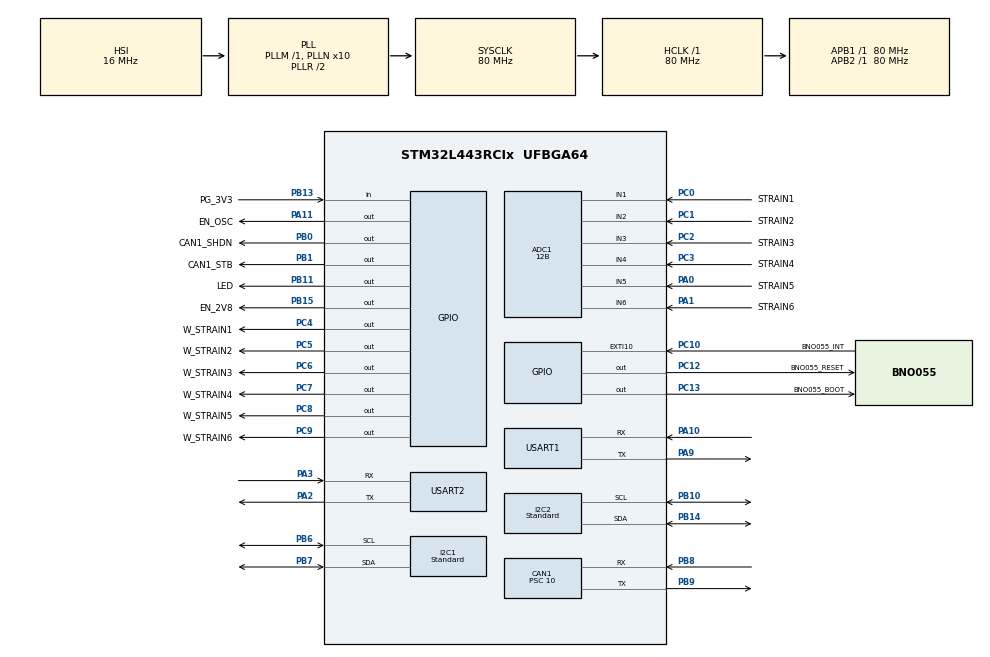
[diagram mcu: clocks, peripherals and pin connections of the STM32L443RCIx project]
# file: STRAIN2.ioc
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ADC1.Channel-0\#ChannelRegularConversion=ADC_CHANNEL_1
ADC1.Channel-1\#ChannelRegularConversion=ADC_CHANNEL_2
ADC1.Channel-2\#ChannelRegularConversion=ADC_CHANNEL_3
ADC1.Channel-3\#ChannelRegularConversion=ADC_CHANNEL_4
ADC1.Channel-4\#ChannelRegularConversion=ADC_CHANNEL_5
ADC1.Channel-5\#ChannelRegularConversion=ADC_CHANNEL_6
ADC1.ClockPrescaler=ADC_CLOCK_ASYNC_DIV2
ADC1.ContinuousConvMode=ENABLE
ADC1.DMAContinuousRequests=ENABLE
ADC1.DataAlign=ADC_DATAALIGN_RIGHT
ADC1.DiscontinuousConvMode=DISABLE
ADC1.EOCSelection=ADC_EOC_SEQ_CONV
ADC1.EnableAnalogWatchDog1=false
ADC1.EnableAnalogWatchDog2=false
ADC1.EnableAnalogWatchDog3=false
ADC1.EnableInjectedConversion=DISABLE
ADC1.EnableRegularConversion=ENABLE
ADC1.ExternalTrigConv=ADC_SOFTWARE_START
ADC1.ExternalTrigConvEdge=ADC_EXTERNALTRIGCONVEDGE_NONE
ADC1.LowPowerAutoWait=DISABLE
ADC1.NbrOfConversion=6
ADC1.NbrOfConversionFlag=1
ADC1.OffsetNumber-0\#ChannelRegularConversion=ADC_OFFSET_NONE
ADC1.OffsetNumber-1\#ChannelRegularConversion=ADC_OFFSET_NONE
ADC1.OffsetNumber-2\#ChannelRegularConversion=ADC_OFFSET_NONE
ADC1.OffsetNumber-3\#ChannelRegularConversion=ADC_OFFSET_NONE
ADC1.OffsetNumber-4\#ChannelRegularConversion=ADC_OFFSET_NONE
ADC1.OffsetNumber-5\#ChannelRegularConversion=ADC_OFFSET_NONE
ADC1.Overrun=ADC_OVR_DATA_OVERWRITTEN
ADC1.OversamplingMode=ENABLE
ADC1.OversamplingStopReset=ADC_REGOVERSAMPLING_CONTINUED_MODE
ADC1.Rank-0\#ChannelRegularConversion=1
ADC1.Rank-1\#ChannelRegularConversion=2
ADC1.Rank-2\#ChannelRegularConversion=3
ADC1.Rank-3\#ChannelRegularConversion=4
ADC1.Rank-4\#ChannelRegularConversion=5
ADC1.Rank-5\#ChannelRegularConversion=6
ADC1.Ratio=ADC_OVERSAMPLING_RATIO_32
ADC1.Resolution=ADC_RESOLUTION_12B
ADC1.RightBitShift=ADC_RIGHTBITSHIFT_4
ADC1.SamplingTime-0\#ChannelRegularConversion=ADC_SAMPLETIME_12CYCLES_5
ADC1.SamplingTime-1\#ChannelRegularConversion=ADC_SAMPLETIME_12CYCLES_5
ADC1.SamplingTime-2\#ChannelRegularConversion=ADC_SAMPLETIME_12CYCLES_5
ADC1.SamplingTime-3\#ChannelRegularConversion=ADC_SAMPLETIME_12CYCLES_5
ADC1.SamplingTime-4\#ChannelRegularConversion=ADC_SAMPLETIME_12CYCLES_5
ADC1.SamplingTime-5\#ChannelRegularConversion=ADC_SAMPLETIME_12CYCLES_5
ADC1.ScanConvMode=ADC_SCAN_ENABLE
ADC1.TriggeredMode=ADC_TRIGGEREDMODE_SINGLE_TRIGGER
ADC1.master=1
CAN1.ABOM=ENABLE
CAN1.BS1=CAN_BS1_2TQ
CAN1.BS2=CAN_BS2_5TQ
CAN1.CalculateBaudRate=1000000
CAN1.CalculateTimeBit=1000
CAN1.CalculateTimeQuantum=125.0
CAN1.NART=ENABLE
CAN1.Prescaler=10
Dma.ADC1.6.Direction=DMA_PERIPH_TO_MEMORY
Dma.ADC1.6.Instance=DMA1_Channel1
Dma.ADC1.6.MemDataAlignment=DMA_MDATAALIGN_HALFWORD
Dma.ADC1.6.MemInc=DMA_MINC_ENABLE
Dma.ADC1.6.Mode=DMA_CIRCULAR
Dma.ADC1.6.PeriphDataAlignment=DMA_PDATAALIGN_HALFWORD
Dma.ADC1.6.PeriphInc=DMA_PINC_DISABLE
Dma.ADC1.6.Priority=DMA_PRIORITY_LOW
Dma.I2C1_RX.1.Direction=DMA_PERIPH_TO_MEMORY
Dma.I2C1_RX.1.Instance=DMA1_Channel7
Dma.I2C1_RX.1.MemDataAlignment=DMA_MDATAALIGN_BYTE
Dma.I2C1_RX.1.MemInc=DMA_MINC_ENABLE
Dma.I2C1_RX.1.Mode=DMA_NORMAL
Dma.I2C1_RX.1.PeriphDataAlignment=DMA_PDATAALIGN_BYTE
Dma.I2C1_RX.1.PeriphInc=DMA_PINC_DISABLE
Dma.I2C1_RX.1.Priority=DMA_PRIORITY_LOW
Dma.I2C1_TX.0.Direction=DMA_MEMORY_TO_PERIPH
Dma.I2C1_TX.0.Instance=DMA1_Channel6
Dma.I2C1_TX.0.MemDataAlignment=DMA_MDATAALIGN_BYTE
Dma.I2C1_TX.0.MemInc=DMA_MINC_ENABLE
Dma.I2C1_TX.0.Mode=DMA_NORMAL
Dma.I2C1_TX.0.PeriphDataAlignment=DMA_PDATAALIGN_BYTE
Dma.I2C1_TX.0.PeriphInc=DMA_PINC_DISABLE
Dma.I2C1_TX.0.Priority=DMA_PRIORITY_LOW
Dma.I2C2_RX.3.Direction=DMA_PERIPH_TO_MEMORY
Dma.I2C2_RX.3.Instance=DMA1_Channel5
Dma.I2C2_RX.3.MemDataAlignment=DMA_MDATAALIGN_BYTE
Dma.I2C2_RX.3.MemInc=DMA_MINC_ENABLE
Dma.I2C2_RX.3.Mode=DMA_NORMAL
Dma.I2C2_RX.3.PeriphDataAlignment=DMA_PDATAALIGN_BYTE
Dma.I2C2_RX.3.PeriphInc=DMA_PINC_DISABLE
Dma.I2C2_RX.3.Priority=DMA_PRIORITY_LOW
Dma.I2C2_TX.2.Direction=DMA_MEMORY_TO_PERIPH
Dma.I2C2_TX.2.Instance=DMA1_Channel4
Dma.I2C2_TX.2.MemDataAlignment=DMA_MDATAALIGN_BYTE
Dma.I2C2_TX.2.MemInc=DMA_MINC_ENABLE
Dma.I2C2_TX.2.Mode=DMA_NORMAL
Dma.I2C2_TX.2.PeriphDataAlignment=DMA_PDATAALIGN_BYTE
Dma.I2C2_TX.2.PeriphInc=DMA_PINC_DISABLE
Dma.I2C2_TX.2.Priority=DMA_PRIORITY_LOW
Dma.Request0=I2C1_TX
Dma.Request1=I2C1_RX
Dma.Request2=I2C2_TX
Dma.Request3=I2C2_RX
Dma.Request4=USART1_TX
Dma.Request5=USART1_RX
Dma.Request6=ADC1
Dma.USART1_RX.5.Direction=DMA_PERIPH_TO_MEMORY
Dma.USART1_RX.5.Instance=DMA2_Channel7
Dma.USART1_RX.5.MemDataAlignment=DMA_MDATAALIGN_BYTE
Dma.USART1_RX.5.MemInc=DMA_MINC_ENABLE
Dma.USART1_RX.5.Mode=DMA_NORMAL
Dma.USART1_RX.5.PeriphDataAlignment=DMA_PDATAALIGN_BYTE
Dma.USART1_RX.5.PeriphInc=DMA_PINC_DISABLE
Dma.USART1_RX.5.Priority=DMA_PRIORITY_LOW
Dma.USART1_TX.4.Direction=DMA_MEMORY_TO_PERIPH
Dma.USART1_TX.4.Instance=DMA2_Channel6
Dma.USART1_TX.4.MemDataAlignment=DMA_MDATAALIGN_BYTE
Dma.USART1_TX.4.MemInc=DMA_MINC_ENABLE
Dma.USART1_TX.4.Mode=DMA_NORMAL
Dma.USART1_TX.4.PeriphDataAlignment=DMA_PDATAALIGN_BYTE
Dma.USART1_TX.4.PeriphInc=DMA_PINC_DISABLE
Dma.USART1_TX.4.Priority=DMA_PRIORITY_LOW
I2C1.I2C_Speed_Mode=I2C_Standard
I2C1.Timing=0x10909CEC
I2C2.I2C_Speed_Mode=I2C_Standard
I2C2.Timing=0x10909CEC
Mcu.Family=STM32L4
Mcu.Name=STM32L443RCIx
Mcu.Package=UFBGA64
NVIC.ADC1_IRQn=true\:0\:0\:false\:false\:true\:true\:true\:true
NVIC.CAN1_RX0_IRQn=true\:0\:0\:false\:false\:true\:true\:true\:true
NVIC.CAN1_TX_IRQn=true\:0\:0\:false\:false\:true\:true\:true\:true
NVIC.DMA1_Channel1_IRQn=true\:0\:0\:false\:false\:true\:true\:true\:true
NVIC.DMA1_Channel4_IRQn=true\:0\:0\:false\:false\:true\:true\:true\:true
NVIC.DMA1_Channel5_IRQn=true\:0\:0\:false\:false\:true\:true\:true\:true
NVIC.DMA1_Channel6_IRQn=true\:0\:0\:false\:false\:true\:true\:true\:true
NVIC.DMA1_Channel7_IRQn=true\:0\:0\:false\:false\:true\:true\:true\:true
NVIC.DMA2_Channel6_IRQn=true\:0\:0\:false\:false\:true\:true\:true\:true
NVIC.DMA2_Channel7_IRQn=true\:0\:0\:false\:false\:true\:true\:true\:true
NVIC.I2C1_ER_IRQn=true\:0\:0\:false\:false\:true\:true\:true\:true
NVIC.I2C1_EV_IRQn=true\:0\:0\:false\:false\:true\:true\:true\:true
NVIC.I2C2_ER_IRQn=true\:0\:0\:false\:false\:true\:true\:true\:true
NVIC.I2C2_EV_IRQn=true\:0\:0\:false\:false\:true\:true\:true\:true
NVIC.PriorityGroup=NVIC_PRIORITYGROUP_4
NVIC.TIM1_BRK_TIM15_IRQn=true\:0\:0\:false\:false\:true\:true\:true\:true
NVIC.TIM1_UP_TIM16_IRQn=true\:0\:0\:false\:false\:true\:true\:true\:true
NVIC.TIM6_DAC_IRQn=true\:0\:0\:false\:false\:true\:true\:true\:true
NVIC.TIM7_IRQn=true\:0\:0\:false\:false\:true\:true\:true\:true
NVIC.USART1_IRQn=true\:0\:0\:false\:false\:true\:true\:true\:true
NVIC.USART2_IRQn=true\:0\:0\:false\:false\:true\:true\:true\:true
PA0.GPIO_Label=STRAIN5
PA0.Signal=ADCx_IN5
PA1.GPIO_Label=STRAIN6
PA1.Signal=ADCx_IN6
PA10.Mode=Asynchronous
PA10.Signal=USART1_RX
PA11.GPIO_Label=EN_OSC
PA11.Signal=GPIO_Output
PA13\ (JTMS-SWDIO).Mode=Serial_Wire
PA13\ (JTMS-SWDIO).Signal=SYS_JTMS-SWDIO
PA14\ (JTCK-SWCLK).Mode=Serial_Wire
PA14\ (JTCK-SWCLK).Signal=SYS_JTCK-SWCLK
PA2.Mode=Asynchronous
PA2.Signal=USART2_TX
PA3.Mode=Asynchronous
PA3.Signal=USART2_RX
PA9.Mode=Asynchronous
PA9.Signal=USART1_TX
PB0.GPIO_Label=CAN1_SHDN
PB0.Signal=GPIO_Output
PB1.GPIO_Label=CAN1_STB
PB1.Signal=GPIO_Output
PB10.GPIO_Pu=GPIO_PULLUP
PB10.Mode=I2C
PB10.Signal=I2C2_SCL
PB11.GPIO_Label=LED
PB11.Signal=GPIO_Output
PB13.GPIO_Label=PG_3V3
PB13.Signal=GPIO_Input
PB14.GPIO_Pu=GPIO_PULLUP
PB14.Mode=I2C
PB14.Signal=I2C2_SDA
PB15.GPIO_Label=EN_2V8
PB15.Signal=GPIO_Output
PB6.GPIO_Pu=GPIO_PULLUP
PB6.Mode=I2C
PB6.Signal=I2C1_SCL
PB7.GPIO_Pu=GPIO_PULLUP
PB7.Mode=I2C
PB7.Signal=I2C1_SDA
PB8.Mode=CAN_Activate
PB8.Signal=CAN1_RX
PB9.Mode=CAN_Activate
PB9.Signal=CAN1_TX
PC0.GPIO_Label=STRAIN1
PC0.Signal=ADCx_IN1
PC1.GPIO_Label=STRAIN2
PC1.Signal=ADCx_IN2
PC10.GPIO_Label=BNO055_INT
PC10.Signal=GPXTI10
PC12.GPIO_Label=BNO055_RESET
PC12.Signal=GPIO_Output
PC13.GPIO_Label=BNO055_BOOT
PC13.Signal=GPIO_Output
PC2.GPIO_Label=STRAIN3
PC2.Signal=ADCx_IN3
PC3.GPIO_Label=STRAIN4
PC3.Signal=ADCx_IN4
PC4.GPIO_Label=W_STRAIN1
PC4.Signal=GPIO_Output
PC5.GPIO_Label=W_STRAIN2
PC5.Signal=GPIO_Output
PC6.GPIO_Label=W_STRAIN3
PC6.Signal=GPIO_Output
PC7.GPIO_Label=W_STRAIN4
PC7.Signal=GPIO_Output
PC8.GPIO_Label=W_STRAIN5
PC8.Signal=GPIO_Output
PC9.GPIO_Label=W_STRAIN6
PC9.Signal=GPIO_Output
ProjectManager.HeapSize=0x200
ProjectManager.StackSize=0x400
ProjectManager.TargetToolchain=MDK-ARM V5
RCC.ADCCLockSelection=RCC_ADCCLKSOURCE_SYSCLK
RCC.ADCFreq_Value=80000000
RCC.AHBFreq_Value=80000000
RCC.APB1Freq_Value=80000000
RCC.APB1TimFreq_Value=80000000
RCC.APB2Freq_Value=80000000
RCC.APB2TimFreq_Value=80000000
RCC.CK48CLockSelection=RCC_USBCLKSOURCE_HSI48
RCC.CortexFreq_Value=80000000
RCC.HCLKFreq_Value=80000000
RCC.HSE_VALUE=10000000
RCC.HSI48_VALUE=48000000
RCC.HSI_VALUE=16000000
RCC.LSE_VALUE=32768
RCC.MSI_VALUE=4000000
RCC.PLLN=10
RCC.PLLSourceVirtual=RCC_PLLSOURCE_HSI
RCC.RTCClockSelection=RCC_RTCCLKSOURCE_LSI
RCC.SYSCLKFreq_VALUE=80000000
RCC.SYSCLKSource=RCC_SYSCLKSOURCE_PLLCLK
RCC.USBFreq_Value=48000000
RCC.VCOOutputFreq_Value=160000000
SH.ADCx_IN1.0=ADC1_IN1,IN1-Single-Ended
SH.ADCx_IN2.0=ADC1_IN2,IN2-Single-Ended
SH.ADCx_IN3.0=ADC1_IN3,IN3-Single-Ended
SH.ADCx_IN4.0=ADC1_IN4,IN4-Single-Ended
SH.ADCx_IN5.0=ADC1_IN5,IN5-Single-Ended
SH.ADCx_IN6.0=ADC1_IN6,IN6-Single-Ended
TIM15.Period=200
TIM15.Prescaler=1600
TIM16.Period=10000
TIM16.Prescaler=1600
TIM6.Period=1
TIM6.Prescaler=1600
TIM6.TIM_MasterOutputTrigger=TIM_TRGO_RESET
TIM7.Period=1
TIM7.Prescaler=1600
USART1.HwFlowCtl-Asynchronous=UART_HWCONTROL_NONE
USART1.VirtualMode-Asynchronous=VM_ASYNC
USART1.WordLength=WORDLENGTH_8B
USART2.HwFlowCtl-Asynchronous=UART_HWCONTROL_NONE
USART2.VirtualMode-Asynchronous=VM_ASYNC
VP_RNG_VS_RNG.Mode=RNG_Activate
VP_TIM15_VS_OPM.Mode=OPM_bit
VP_TIM16_VS_ClockSourceINT.Mode=Enable_Timer
VP_TIM6_VS_ClockSourceINT.Mode=Enable_Timer
VP_TIM7_VS_ClockSourceINT.Mode=Enable_Timer
board=STRAIN2

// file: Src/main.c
/* USER CODE BEGIN Header */
/**
  ******************************************************************************
  * @file           : main.c
  * @brief          : Main program body
  ******************************************************************************
  ** This notice applies to any and all portions of this file
  * that are not between comment pairs USER CODE BEGIN and
  * USER CODE END. Other portions of this file, whether
  * inserted by the user or by software development tools
  * are owned by their respective copyright owners.
  *
  * COPYRIGHT(c) 2018 STMicroelectronics
  *
  * Redistribution and use in source and binary forms, with or without modification,
  * are permitted provided that the following conditions are met:
  *   1. Redistributions of source code must retain the above copyright notice,
  *      this list of conditions and the following disclaimer.
  *   2. Redistributions in binary form must reproduce the above copyright notice,
  *      this list of conditions and the following disclaimer in the documentation
  *      and/or other materials provided with the distribution.
  *   3. Neither the name of STMicroelectronics nor the names of its contributors
  *      may be used to endorse or promote products derived from this software
  *      without specific prior written permission.
  *
  * THIS SOFTWARE IS PROVIDED BY THE COPYRIGHT HOLDERS AND CONTRIBUTORS "AS IS"
  * AND ANY EXPRESS OR IMPLIED WARRANTIES, INCLUDING, BUT NOT LIMITED TO, THE
  * IMPLIED WARRANTIES OF MERCHANTABILITY AND FITNESS FOR A PARTICULAR PURPOSE ARE
  * DISCLAIMED. IN NO EVENT SHALL THE COPYRIGHT HOLDER OR CONTRIBUTORS BE LIABLE
  * FOR ANY DIRECT, INDIRECT, INCIDENTAL, SPECIAL, EXEMPLARY, OR CONSEQUENTIAL
  * DAMAGES (INCLUDING, BUT NOT LIMITED TO, PROCUREMENT OF SUBSTITUTE GOODS OR
  * SERVICES; LOSS OF USE, DATA, OR PROFITS; OR BUSINESS INTERRUPTION) HOWEVER
  * CAUSED AND ON ANY THEORY OF LIABILITY, WHETHER IN CONTRACT, STRICT LIABILITY,
  * OR TORT (INCLUDING NEGLIGENCE OR OTHERWISE) ARISING IN ANY WAY OUT OF THE USE
  * OF THIS SOFTWARE, EVEN IF ADVISED OF THE POSSIBILITY OF SUCH DAMAGE.
  *
  ******************************************************************************
  */
/* USER CODE END Header */

#include "main.h"
#include "adc.h"
#include "can.h"
#include "dma.h"
#include "i2c.h"
#include "rng.h"
#include "tim.h"
#include "usart.h"
#include "gpio.h"

/* USER CODE BEGIN Includes */
#include "can_utility.h"
#include "Si705x.h"
#include "BNO055.h"
#include "PGA308.h"

/* USER CODE END Includes */

/* USER CODE BEGIN PV */
/* Private variables ---------------------------------------------------------*/

// ----------------------------------------------------------------------------
// Firmware Version
// ----------------------------------------------------------------------------
char Firmware_vers = 0;
char Revision_vers = 0;
char Build_number  = 0;

#define LED_ON    HAL_GPIO_WritePin(LED_GPIO_Port, LED_Pin, GPIO_PIN_RESET);
#define LED_OFF   HAL_GPIO_WritePin(LED_GPIO_Port, LED_Pin, GPIO_PIN_SET);

uint8_t can_message = 0;
uint16_t count = 0;
uint8_t REG_count = 0;
uint8_t REG_GO = 0;
uint8_t REG_tran = 0;
uint8_t REG_OK = 0;
uint8_t REG_Value = 0;
#define SAMPLES 10
uint8_t REG_max_count = SAMPLES;
uint16_t REG_value_tran[SAMPLES];
uint8_t CHANNEL=1;
uint8_t REGISTER=RAM_CFG0;
uint8_t PGA308_StartCalib=1;

uint16_t Temperature_TOPcode_prev=0;
uint16_t Temperature_TOPcode;
uint32_t Temperature_TOPboard;
uint16_t Temperature_BOTcode;
uint32_t Temperature_BOTboard;
uint8_t Temp_int;
uint8_t Temp_dec;

uint8_t PGA308_DimBufferTXbit=8*PGA308_DimBufferTX;
uint8_t bit_count=0;
uint8_t byte_count=0;
uint8_t bit_count_rel=0;
uint8_t PGA308_channel;

extern uint8_t PGA308_BufferTx[PGA308_DimBufferTX];
extern uint16_t adc_values[6];           // contains all ADC channels conversion
extern uint8_t PGA308_StartComm;

//uint16_t PGA308register = 0;
fifo PGA308_CoarseOffset = {0};

uint16_t Gain;

uint8_t text[5] = {0};
uint8_t UART_Rx_buffer[5];

/* USER CODE END PV */

void SystemClock_Config(void);
/* USER CODE BEGIN PFP */
/* Private function prototypes -----------------------------------------------*/
void TIMER_Init(void);
void TIMER_PROG(uint16_t value);
void TEMPERATURE(void);
void BNO055(void);
void BNO055_UART(void);
void SelfCalibration(uint8_t channel, uint8_t reg);
void PGA_CoarseOffset_Calib(uint8_t channel, uint16_t DAC_OUT);
void PGA_FineOffset_Calib(uint8_t channel, uint16_t DAC_OUT);
void PGA_StableRegister(uint16_t REGISTER);
//void calcMean();

/* USER CODE END PFP */

int main(void)
{

  /* MCU Configuration--------------------------------------------------------*/

  /* Reset of all peripherals, Initializes the Flash interface and the Systick. */
  HAL_Init();

  /* Configure the system clock */
  SystemClock_Config();

  /* Initialize all configured peripherals */
  MX_GPIO_Init();
  MX_DMA_Init();
  MX_TIM6_Init();
  MX_CAN1_Init();
  MX_USART1_UART_Init();
  MX_ADC1_Init();
  MX_I2C1_Init();
  MX_I2C2_Init();
  MX_USART2_UART_Init();
  MX_TIM7_Init();
  MX_TIM16_Init();
  MX_TIM15_Init();
  MX_RNG_Init();
  /* USER CODE BEGIN 2 */
	TIMER_Init();
  CAN_Config();
	Si705x_init(1);
  BNO055_init();

  /* USER CODE END 2 */

  /* Infinite loop */
  /* USER CODE BEGIN WHILE */

#if 1
    #warning marco.accame on 27dec18 has uncommented every user-defined can code as it doesnt compile. read commennts in here for more details
    // marco.accame on 27dec18: sic.. it doesnt compile because of chanhge of can api.
    // i uncomment it, as i dont need to make it work
#else
  /*##-2- Start the Reception process and enable reception interrupt #########*/
  if (HAL_CAN_Receive_IT(&hcan1, CAN_FIFO0) != HAL_OK)
  {
    /* Reception Error */
    Error_Handler();
  }
#endif

  PGA308_init();
  //PGA308_DefaultConfig();

  HAL_Delay(100);
  HAL_ADC_Start_DMA(&hadc1, (uint32_t*)adc_values, 6);

  HAL_Delay(1000);

  REGISTER=RAM_CFG0;
  //REGISTER=RAM_GDAC;

  while (1)
  {
    //CANBUS();
    TEMPERATURE();
    BNO055();
    //BNO055_UART();

    if(PGA308_StartCalib){
      TIMER_PROG(1000);
      PGA308_StartCalib=0;
      PGA308_DefaultConfig();
    }
    else
    {
      if(REG_OK==0) {SelfCalibration(CHANNEL, REGISTER);}
      else{
        if(CHANNEL<6) {
          REG_OK=0;
          CHANNEL++;
        }
        else{
          if(REGISTER==RAM_CFG0){
            HAL_Delay(100);
            REGISTER=RAM_ZDAC;
            REG_OK=0;
            CHANNEL=1;
          }
          else if(REGISTER==RAM_ZDAC){
            TIMER_PROG(10000);
            REGISTER=RAM_GDAC;
          }
        }
      }
    }
    HAL_Delay(10);

    /* USER CODE END WHILE */

  }
}

void SystemClock_Config(void)
{
  RCC_OscInitTypeDef RCC_OscInitStruct = {0};
  RCC_ClkInitTypeDef RCC_ClkInitStruct = {0};
  RCC_PeriphCLKInitTypeDef PeriphClkInit = {0};

  /** Initializes the CPU, AHB and APB busses clocks
  */
  RCC_OscInitStruct.OscillatorType = RCC_OSCILLATORTYPE_HSI48|RCC_OSCILLATORTYPE_HSI;
  RCC_OscInitStruct.HSIState = RCC_HSI_ON;
  RCC_OscInitStruct.HSI48State = RCC_HSI48_ON;
  RCC_OscInitStruct.HSICalibrationValue = RCC_HSICALIBRATION_DEFAULT;
  RCC_OscInitStruct.PLL.PLLState = RCC_PLL_ON;
  RCC_OscInitStruct.PLL.PLLSource = RCC_PLLSOURCE_HSI;
  RCC_OscInitStruct.PLL.PLLM = 1;
  RCC_OscInitStruct.PLL.PLLN = 10;
  RCC_OscInitStruct.PLL.PLLP = RCC_PLLP_DIV7;
  RCC_OscInitStruct.PLL.PLLQ = RCC_PLLQ_DIV2;
  RCC_OscInitStruct.PLL.PLLR = RCC_PLLR_DIV2;
  if (HAL_RCC_OscConfig(&RCC_OscInitStruct) != HAL_OK)
  {
    Error_Handler();
  }
  /** Initializes the CPU, AHB and APB busses clocks
  */
  RCC_ClkInitStruct.ClockType = RCC_CLOCKTYPE_HCLK|RCC_CLOCKTYPE_SYSCLK
                              |RCC_CLOCKTYPE_PCLK1|RCC_CLOCKTYPE_PCLK2;
  RCC_ClkInitStruct.SYSCLKSource = RCC_SYSCLKSOURCE_PLLCLK;
  RCC_ClkInitStruct.AHBCLKDivider = RCC_SYSCLK_DIV1;
  RCC_ClkInitStruct.APB1CLKDivider = RCC_HCLK_DIV1;
  RCC_ClkInitStruct.APB2CLKDivider = RCC_HCLK_DIV1;

  if (HAL_RCC_ClockConfig(&RCC_ClkInitStruct, FLASH_LATENCY_4) != HAL_OK)
  {
    Error_Handler();
  }
  PeriphClkInit.PeriphClockSelection = RCC_PERIPHCLK_USART1|RCC_PERIPHCLK_USART2
                              |RCC_PERIPHCLK_I2C1|RCC_PERIPHCLK_I2C2
                              |RCC_PERIPHCLK_RNG|RCC_PERIPHCLK_ADC;
  PeriphClkInit.Usart1ClockSelection = RCC_USART1CLKSOURCE_PCLK2;
  PeriphClkInit.Usart2ClockSelection = RCC_USART2CLKSOURCE_PCLK1;
  PeriphClkInit.I2c1ClockSelection = RCC_I2C1CLKSOURCE_PCLK1;
  PeriphClkInit.I2c2ClockSelection = RCC_I2C2CLKSOURCE_PCLK1;
  PeriphClkInit.AdcClockSelection = RCC_ADCCLKSOURCE_SYSCLK;
  PeriphClkInit.RngClockSelection = RCC_RNGCLKSOURCE_HSI48;
  if (HAL_RCCEx_PeriphCLKConfig(&PeriphClkInit) != HAL_OK)
  {
    Error_Handler();
  }
  /** Configure the main internal regulator output voltage
  */
  if (HAL_PWREx_ControlVoltageScaling(PWR_REGULATOR_VOLTAGE_SCALE1) != HAL_OK)
  {
    Error_Handler();
  }
}

/* USER CODE BEGIN 4 */
void HAL_SYSTICK_Callback(void)
{
//	static uint32_t count=0;
//	if(count==1000){
//		//HAL_GPIO_TogglePin(LED_BLUE_GPIO_Port, LED_BLUE_Pin);
//		count=0;
//	}
//	count++;
}

// -----------------------------------------------------------------------------------------------------------------------------
// Timers initialization
// -----------------------------------------------------------------------------------------------------------------------------
void TIMER_Init(void){
  __HAL_TIM_CLEAR_IT(&htim6, TIM_IT_UPDATE);
  __HAL_TIM_CLEAR_IT(&htim7, TIM_IT_UPDATE);
  __HAL_TIM_CLEAR_IT(&htim15, TIM_IT_UPDATE);
  __HAL_TIM_CLEAR_IT(&htim16, TIM_IT_UPDATE);

	HAL_TIM_Base_Start_IT(&htim16);
}

// -----------------------------------------------------------------------------------------------------------------------------
// FT Sensor Self-Calibration for any channel, by using coarse and fine offset tuning
// -----------------------------------------------------------------------------------------------------------------------------
void SelfCalibration(uint8_t channel, uint8_t reg){
  uint16_t DAC_OUT;

  if      (channel==1)  {DAC_OUT=adc_measure.STRAIN1;}
  else if (channel==2)  {DAC_OUT=adc_measure.STRAIN2;}
  else if (channel==3)  {DAC_OUT=adc_measure.STRAIN3;}
  else if (channel==4)  {DAC_OUT=adc_measure.STRAIN4;}
  else if (channel==5)  {DAC_OUT=adc_measure.STRAIN5;}
  else if (channel==6)  {DAC_OUT=adc_measure.STRAIN6;}

  if(reg==RAM_CFG0){
    PGA_CoarseOffset_Calib(channel, DAC_OUT);                         // Coarse calibration using CFG0.OS register
    PGA_StableRegister(PGA308[channel].CFG0_OS);                      // Check if value is stable or not
    if(REG_Value){                                                    // If value is not stable yet, write a better value in CFG0.OS
      PGA308[channel].CFG0 = ((PGA308[channel].CFG0 & 0xFF00) | PGA308[channel].CFG0_OS);
      PGA308_WriteRegister(channel, reg, PGA308[channel].CFG0);
    }
  }

  if(reg==RAM_ZDAC){
    PGA_FineOffset_Calib(channel, DAC_OUT);                           // Fine calibration using ZDAC register
    PGA_StableRegister(PGA308[channel].ZDAC);                         // Check if value is stable or not
    if(REG_Value){                                                    // If value is not stable yet, write a better value in ZDAC
      PGA308_WriteRegister(channel, reg, PGA308[channel].ZDAC);
    }
  }
}

// -----------------------------------------------------------------------------------------------------------------------------
// PGA308 Coarse Offset Calibration - Register CFG0.OS
// -----------------------------------------------------------------------------------------------------------------------------
void PGA_CoarseOffset_Calib(uint8_t channel, uint16_t DAC_OUT){
  if(DAC_OUT < 4096){                         // 4096 metа scala dell'ADC, metto diverso per poter poi calibrare finemente col Zero DAC
    if(PGA308[channel].CFG0_OS>>7 == 0) {
      if(PGA308[channel].CFG0_OS<0x64)  {PGA308[channel].CFG0_OS++;}
    }
    else{
      if( (PGA308[channel].CFG0_OS & 0x7F) > 0)   {PGA308[channel].CFG0_OS--;}
      else                                        {PGA308[channel].CFG0_OS=0x00;}
    }
  }
  else{
    if(PGA308[channel].CFG0_OS>>7 == 0) {
      if( (PGA308[channel].CFG0_OS & 0x7F) > 0)   {PGA308[channel].CFG0_OS--;}
      else                                        {PGA308[channel].CFG0_OS=0x80;}
    }
    else{
      if( (PGA308[channel].CFG0_OS & 0x7F)<0x64)  {PGA308[channel].CFG0_OS++;}
    }
  }
}

// -----------------------------------------------------------------------------------------------------------------------------
// PGA308 Fine Offset Calibration - Register ZDAC
// -----------------------------------------------------------------------------------------------------------------------------
void PGA_FineOffset_Calib(uint8_t channel, uint16_t DAC_OUT){
  if(DAC_OUT < 4096){                         // 4096 metа scala dell'ADC
    if(PGA308[channel].ZDAC > 0x0000)  {PGA308[channel].ZDAC--;}
  }
  else{
    if(PGA308[channel].ZDAC < 0xFFFF)  {PGA308[channel].ZDAC++;}
  }
}

// -----------------------------------------------------------------------------------------------------------------------------
// PGA308 Check the stability of register values
// -----------------------------------------------------------------------------------------------------------------------------
void PGA_StableRegister(uint16_t REGISTER){
  uint8_t i;
  REG_value_tran[REG_count]=REGISTER;
  if(REG_count < REG_max_count) {REG_count++;}
  else                          {REG_count=0; REG_GO=1;}

  for(i=0; i<REG_max_count; i++){
    if(REG_value_tran[i] > REG_value_tran[REG_max_count]){
      if( (REG_value_tran[i] - REG_value_tran[REG_max_count]) <= 1){
        REG_tran++;
      }
    }
    else{
      if( REG_value_tran[REG_max_count] - (REG_value_tran[i]) <= 1){
        REG_tran++;
      }
    }
  }

  if(REG_GO){
    if(REG_tran != REG_max_count) {REG_Value=1;}
    else                          {REG_Value=0; REG_OK=1; REG_GO=0;}
  }
  REG_tran=0;
}

// -----------------------------------------------------------------------------------------------------------------------------
// CAN messages management
// -----------------------------------------------------------------------------------------------------------------------------
void CANBUS(void){
#if 1
    #warning marco.accame on 27dec18 has uncommented every user-defined can code as it doesnt compile. read commennts in here for more details
    // marco.accame on 27dec18: sic.. it doesnt compile because of chanhge of can api.
    // i uncomment it, as i dont need to make it work
#else
	switch(can_message){
    case 0x00:
    {
      hcan1.pTxMsg->StdId   = 0x621;              // Polling
      hcan1.pTxMsg->Data[0] = 0xFF;               // Firmware version message
      //hcan1.pTxMsg->Data[1] = 0x00;               // Board type
      hcan1.pTxMsg->Data[1] = Firmware_vers;      // Firmware version
      hcan1.pTxMsg->Data[2] = Revision_vers;      // Revision version
      hcan1.pTxMsg->Data[3] = Build_number;       // Build number
      hcan1.pTxMsg->Data[4] = PGA308[1].CFG0_OS>>8;
      hcan1.pTxMsg->Data[5] = PGA308[1].CFG0_OS;
      hcan1.pTxMsg->Data[6] = 0;
      hcan1.pTxMsg->Data[7] = 0;
      HAL_CAN_Transmit_IT(&hcan1);
      can_message = 1;
    }
    break;

    case 0x01:
    {
      hcan1.pTxMsg->StdId   = 0x621;              // Polling
      hcan1.pTxMsg->Data[0] = 0xFF;               // Firmware version message
      hcan1.pTxMsg->Data[1] = 0x01;               // Board type
      hcan1.pTxMsg->Data[2] = ((adc_measure.STRAIN1)>>8) & 0x000000FF;
      hcan1.pTxMsg->Data[3] = adc_measure.STRAIN1 & 0x000000FF;
      hcan1.pTxMsg->Data[4] = ((adc_measure.STRAIN2)>>8) & 0x000000FF;
      hcan1.pTxMsg->Data[5] = adc_measure.STRAIN2 & 0x000000FF;
      hcan1.pTxMsg->Data[6] = ((adc_measure.STRAIN3)>>8) & 0x000000FF;
      hcan1.pTxMsg->Data[7] = adc_measure.STRAIN3 & 0x000000FF;
      HAL_CAN_Transmit_IT(&hcan1);
      can_message = 2;
    }
    break;

    case 0x02:
    {
      hcan1.pTxMsg->StdId   = 0x621;              // Polling
      hcan1.pTxMsg->Data[0] = 0xFF;               // Firmware version message
      hcan1.pTxMsg->Data[1] = 0x02;               // Board type
      hcan1.pTxMsg->Data[2] = ((adc_measure.STRAIN4)>>8) & 0x000000FF;
      hcan1.pTxMsg->Data[3] = adc_measure.STRAIN4 & 0x000000FF;
      hcan1.pTxMsg->Data[4] = ((adc_measure.STRAIN5)>>8) & 0x000000FF;
      hcan1.pTxMsg->Data[5] = adc_measure.STRAIN5 & 0x000000FF;
      hcan1.pTxMsg->Data[6] = ((adc_measure.STRAIN6)>>8) & 0x000000FF;
      hcan1.pTxMsg->Data[7] = adc_measure.STRAIN6 & 0x000000FF;
      HAL_CAN_Transmit_IT(&hcan1);
      can_message = 3;
    }
    break;

    case 0x03:
    {
      hcan1.pTxMsg->StdId   = 0x621;              // Polling
      hcan1.pTxMsg->Data[0] = 0xFF;               // Firmware version message
      hcan1.pTxMsg->Data[1] = 0x03;               // Board type
      hcan1.pTxMsg->Data[2] = Temperature_TOPboard>>8;
      hcan1.pTxMsg->Data[3] = Temperature_TOPboard;
      hcan1.pTxMsg->Data[4] = Temperature_BOTboard>>8;
      hcan1.pTxMsg->Data[5] = Temperature_BOTboard;
      hcan1.pTxMsg->Data[6] = 0;
      hcan1.pTxMsg->Data[7] = 0;
      HAL_CAN_Transmit_IT(&hcan1);
      can_message = 0;
    }
    break;

    case 0x10:
    {
      hcan1.pTxMsg->StdId   = 0x621;              // Polling
      hcan1.pTxMsg->Data[0] = 0xFF;               // Firmware version message
      //hcan1.pTxMsg->Data[1] = 0x00;               // Board type
      hcan1.pTxMsg->Data[1] = Firmware_vers;      // Firmware version
      hcan1.pTxMsg->Data[2] = Revision_vers;      // Revision version
      hcan1.pTxMsg->Data[3] = Build_number;       // Build number
      hcan1.pTxMsg->Data[4] = PGA308[1].CFG0_OS>>8;
      hcan1.pTxMsg->Data[5] = PGA308[1].CFG0_OS;
      hcan1.pTxMsg->Data[6] = 0;
      hcan1.pTxMsg->Data[7] = 0;
      HAL_CAN_Transmit_IT(&hcan1);
      can_message = 0;
    }
    break;

    default:
    {
    }
    break;
  }
#endif
}

// -----------------------------------------------------------------------------------------------------------------------------
// Read the Sensor Temperature
// -----------------------------------------------------------------------------------------------------------------------------
void TEMPERATURE(void){
  Si705x_ReadTemperature(1);
}

// -----------------------------------------------------------------------------------------------------------------------------
// Read the IMU BNO055 I2C
// -----------------------------------------------------------------------------------------------------------------------------
void BNO055(void){
  BNO055_Read(0x08);
}

// -----------------------------------------------------------------------------------------------------------------------------
// Read the IMU BNO055 UART
// -----------------------------------------------------------------------------------------------------------------------------
void BNO055_UART(void){
  BNO055_UART_Read();
}

// -----------------------------------------------------------------------------------------------------------------------------
// I2C Callback
// -----------------------------------------------------------------------------------------------------------------------------
void HAL_I2C_MasterTxCpltCallback(I2C_HandleTypeDef *I2cHandle)
{
  if(I2cHandle->Instance==I2C1){
    HAL_I2C_Master_Receive_DMA(&hi2c1, (uint16_t)Si705x_I2C_ADDRESS, (uint8_t*)Si705x_I2C1_RxBuffer, sizeof(Si705x_I2C1_RxBuffer));
  }
  if(I2cHandle->Instance==I2C2){
    HAL_I2C_Master_Receive_DMA(&hi2c2, (uint16_t)Si705x_I2C_ADDRESS, (uint8_t*)Si705x_I2C2_RxBuffer, sizeof(Si705x_I2C2_RxBuffer));
    HAL_I2C_Master_Receive_DMA(&hi2c2, (uint16_t)BNO055_I2C_ADDRESS, (uint8_t*)BNO055_RxBuffer, sizeof(BNO055_RxBuffer));

  }
}

void HAL_I2C_MasterRxCpltCallback(I2C_HandleTypeDef *I2cHandle)
{
  if(I2cHandle->Instance==I2C1){
    Temperature_BOTcode = (Si705x_I2C1_RxBuffer[0]<<8) + Si705x_I2C1_RxBuffer[1];
    Temperature_BOTboard = ((17572*Temperature_BOTcode)/65536) - 4685;  // HEX temperature in degrees Celsius (x100)
  }
  if(I2cHandle->Instance==I2C2){
    Temperature_TOPcode = (Si705x_I2C2_RxBuffer[0]<<8) + Si705x_I2C2_RxBuffer[1];
    Temperature_TOPboard = ((17572*Temperature_TOPcode)/65536) - 4685;  // HEX temperature in degrees Celsius (x100)

    if(Temperature_TOPcode != Temperature_TOPcode_prev){
      Temperature_TOPcode_prev=Temperature_TOPcode;
      CANBUS();
    }
  }
}

// -----------------------------------------------------------------------------------------------------------------------------
// UART Callback
// -----------------------------------------------------------------------------------------------------------------------------
void HAL_UART_TxCpltCallback(UART_HandleTypeDef *huart){
  HAL_UART_Receive_DMA(&huart1,(uint8_t*)UART_Rx_buffer, sizeof(UART_Rx_buffer));
}

void HAL_UART_RxCpltCallback(UART_HandleTypeDef *huart){
  HAL_UART_Transmit_DMA(&huart1,(uint8_t*)UART_Rx_buffer, sizeof(UART_Rx_buffer));
}

// -----------------------------------------------------------------------------------------------------------------------------
// Timers Callback
// -----------------------------------------------------------------------------------------------------------------------------
void HAL_TIM_PeriodElapsedCallback(TIM_HandleTypeDef *htim){
  if(htim->Instance==TIM6){         // timer 10ms
    if(bit_count_rel==0){       // START condition of One-Wire Protocol
      PGA308_BitValue(PGA308_channel, LOW);
      bit_count_rel++;
    }
    else if(bit_count_rel==9){   // STOP condition of One-Wire Protocol
      PGA308_BitValue(PGA308_channel, HIGH);
      bit_count_rel=0;
      byte_count++;
    }
    else{                       // Transmission of One-Wire Protocol
      if(bit_count<PGA308_DimBufferTXbit){
        if(((PGA308_BufferTx[byte_count])>>(bit_count_rel-1)) & 0x01){
          PGA308_BitValue(PGA308_channel, HIGH);
        }
        else{
          PGA308_BitValue(PGA308_channel, LOW);
        }
        bit_count++;
        bit_count_rel++;
      }
      else{
        PGA308_BitValue(PGA308_channel, HIGH);
        HAL_TIM_Base_Stop_IT(&htim6);
        bit_count=0;
        bit_count_rel=0;
        byte_count=0;
        HAL_TIM_Base_Start_IT(&htim15);
        REG_Value=0;
      }
    }
	}

	if(htim->Instance==TIM7){        // timer 100ms
    if(bit_count_rel==0){       // START condition of One-Wire Protocol
      PGA308_BitValue(PGA308_channel, LOW);
      bit_count_rel++;
    }
    else if(bit_count_rel==9){   // STOP condition of One-Wire Protocol
      PGA308_BitValue(PGA308_channel, HIGH);
      bit_count_rel=0;
      byte_count++;
    }
    else{                       // Transmission of One-Wire Protocol
      if(bit_count<16){
        if(((PGA308_BufferTx[byte_count])>>(bit_count_rel-1)) & 0x01){
          PGA308_BitValue(PGA308_channel, HIGH);
        }
        else{
          PGA308_BitValue(PGA308_channel, LOW);
        }
        bit_count++;
        bit_count_rel++;
      }
      else{
        PGA308_BitValue(PGA308_channel, HIGH);
        HAL_TIM_Base_Stop_IT(&htim7);
        bit_count=0;
        bit_count_rel=0;
        byte_count=0;
        HAL_TIM_Base_Start_IT(&htim15);
        can_message=0x10;
      }
    }
	}

  if(htim->Instance==TIM15){        // timer 20ms
    PGA308_StartComm=0;
    HAL_TIM_Base_Stop_IT(&htim15);
	}

  if(htim->Instance==TIM16){        // timer xxx ms
    HAL_GPIO_TogglePin(LED_GPIO_Port, LED_Pin);
	}
}

void TIMER_PROG(uint16_t value){     // example: value=10000 -> 1s, value=1000 -> 100ms, value=100 -> 10ms
  htim16.Init.Period = value;
  HAL_TIM_Base_Init(&htim16);
}

// -----------------------------------------------------------------------------------------------------------------------------
// ADC
// -----------------------------------------------------------------------------------------------------------------------------
void HAL_ADC_ConvCpltCallback(ADC_HandleTypeDef* hadc){
  //HAL_ADC_Stop_DMA(&hadc1);
  adc_measure.STRAIN1 = (*(adc_values+0));//*0.687+58.5;     // mV
  adc_measure.STRAIN2 = (*(adc_values+1));//*0.687+58.5;     // mV
  adc_measure.STRAIN3 = (*(adc_values+2));//*0.687+58.5;     // mV
  adc_measure.STRAIN4 = (*(adc_values+3));//*0.687+58.5;     // mV
  adc_measure.STRAIN5 = (*(adc_values+4));//*0.687+58.5;     // mV
  adc_measure.STRAIN6 = (*(adc_values+5));//*0.687+58.5;     // mV

  //HAL_ADC_Start_DMA(&hadc1, (uint32_t*)adc_values, 6);
  //calcMean();
  //CANBUS();
}

void calcMean(){
  adc_samples.STRAIN1[adc_sample] = adc_measure.STRAIN1;
  adc_samples.STRAIN2[adc_sample] = adc_measure.STRAIN2;
  adc_samples.STRAIN3[adc_sample] = adc_measure.STRAIN3;
  adc_samples.STRAIN4[adc_sample] = adc_measure.STRAIN4;
  adc_samples.STRAIN5[adc_sample] = adc_measure.STRAIN5;
  adc_samples.STRAIN6[adc_sample] = adc_measure.STRAIN6;

  if(adc_sample < (nr_adc_sample-1))  {adc_sample++;}
  else                                {adc_sample=0;}

  mean.STRAIN1=0;
	mean.STRAIN2=0;
	mean.STRAIN3=0;
	mean.STRAIN4=0;
	mean.STRAIN5=0;
	mean.STRAIN6=0;

  for(uint16_t i=0; i < nr_adc_sample; i++){
    mean.STRAIN1 += adc_samples.STRAIN1[i];
    mean.STRAIN2 += adc_samples.STRAIN2[i];
    mean.STRAIN3 += adc_samples.STRAIN3[i];
    mean.STRAIN4 += adc_samples.STRAIN4[i];
    mean.STRAIN5 += adc_samples.STRAIN5[i];
    mean.STRAIN6 += adc_samples.STRAIN6[i];
  }

  mean.STRAIN1 = mean.STRAIN1 / nr_adc_sample;
  mean.STRAIN2 = mean.STRAIN2 / nr_adc_sample;
  mean.STRAIN3 = mean.STRAIN3 / nr_adc_sample;
  mean.STRAIN4 = mean.STRAIN4 / nr_adc_sample;
  mean.STRAIN5 = mean.STRAIN5 / nr_adc_sample;
  mean.STRAIN6 = mean.STRAIN6 / nr_adc_sample;
}

void CheckTransient(){

}

/* USER CODE END 4 */

void Error_Handler(void)
{
}

/************************ (C) COPYRIGHT STMicroelectronics *****END OF FILE****/
